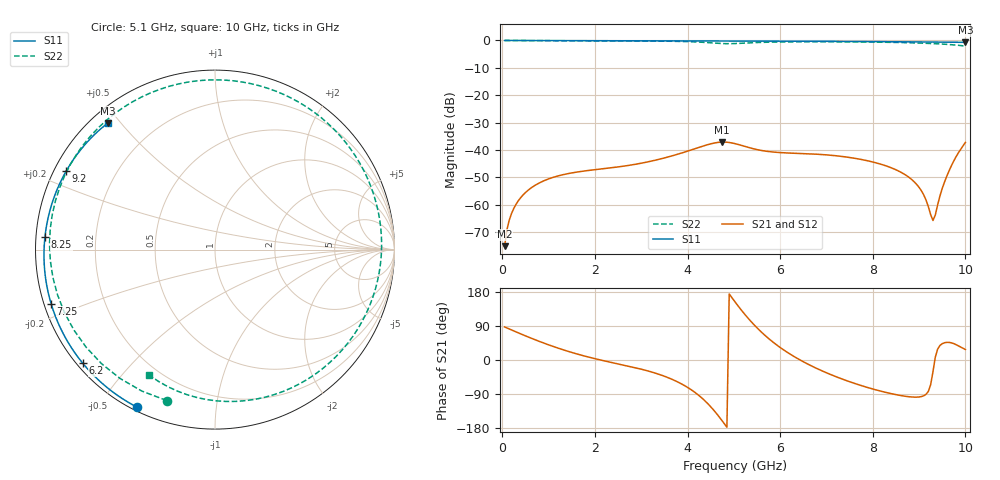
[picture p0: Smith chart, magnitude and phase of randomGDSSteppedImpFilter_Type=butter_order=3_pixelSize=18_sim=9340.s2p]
! freq	dB(S11)	phase(S11)	dB(S12)	phase(S12)
!  dB(S21)	phase(S21)	dB(S22)	phase(S22)
!S-par simulation data
#  GHz  S  DB  R 50
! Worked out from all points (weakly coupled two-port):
!   200 points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, 50 MHz to 10 GHz, reference 50 ohm
!   highest |S21| = -37.13 dB at 4.75 GHz (marker M1); lowest = -75.2 dB at 50 MHz (marker M2)
!   lowest |S11| = -0.7 dB at 10 GHz (marker M3), VSWR 25.20, Z = 2.41 + j23.2 ohm
!   |S11| at or under -10 dB: nowhere
!   |S22| runs from -2.1 to 0.0 dB; largest |S21 - S12| = 0
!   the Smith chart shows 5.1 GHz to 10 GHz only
!   S11 on the Smith chart (normalised r, x): 5.1 GHz: 0.01, -0.62; 6.2 GHz: 0.02, -0.37; 7.25 GHz: 0.02, -0.16; 8.25 GHz: 0.03, +0.04; 9.2 GHz: 0.03, +0.25; 10 GHz: 0.05, +0.46
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0.05  -0.00 -1.2  -75.16 87.3  -75.16 87.3  -0.00 -4.2
0.2  -0.01 -5.0  -63.20 79.2  -63.20 79.2  -0.02 -16.5
0.5  -0.02 -12.3  -55.58 63.7  -55.58 63.7  -0.05 -40.4
1.1  -0.03 -26.9  -50.00 35.7  -50.00 35.7  -0.10 -84.5
1.75  -0.05 -42.5  -47.74 11.3  -47.74 11.3  -0.13 -125.5
2.6  -0.08 -62.2  -45.98 -12.9  -45.98 -12.9  -0.17 -172.4
3.4  -0.11 -80.1  -43.36 -38.5  -43.36 -38.5  -0.24 141.4
4.2  -0.14 -97.5  -39.33 -89.1  -39.33 -89.1  -0.55 70.7
4.55  -0.15 -104.9  -37.57 -130.1  -37.57 -130.1  -0.92 14.1
4.75  -0.16 -109.1  -37.13 -160.8  -37.13 -160.8  -1.13 -29.4
5.05  -0.18 -115.4  -37.80 149.3  -37.80 149.3  -1.12 -97.6
5.1  -0.18 -116.4  -38.03 141.3  -38.03 141.3  -1.08 -107.7
5.55  -0.21 -125.8  -40.05 78.9  -40.05 78.9  -0.73 -176.2
6.2  -0.25 -139.4  -41.14 16.7  -41.14 16.7  -0.52 126.2
6.7  -0.29 -149.9  -41.48 -17.0  -41.48 -17.0  -0.48 93.0
7.25  -0.34 -161.7  -42.21 -46.1  -42.21 -46.1  -0.49 59.9
8.25  -0.45 175.7  -45.61 -84.6  -45.61 -84.6  -0.64 1.1
8.35  -0.46 173.4  -46.21 -87.5  -46.21 -87.5  -0.67 -4.8
9.2  -0.56 152.2  -60.73 -82.9  -60.73 -82.9  -1.07 -57.7
9.3  -0.57 149.6  -65.78 -30.8  -65.78 -30.8  -1.14 -64.4
9.6  -0.62 141.5  -49.54 46.5  -49.54 46.5  -1.42 -85.5
10  -0.69 130.1  -37.27 27.7  -37.27 27.7  -2.05 -117.5
